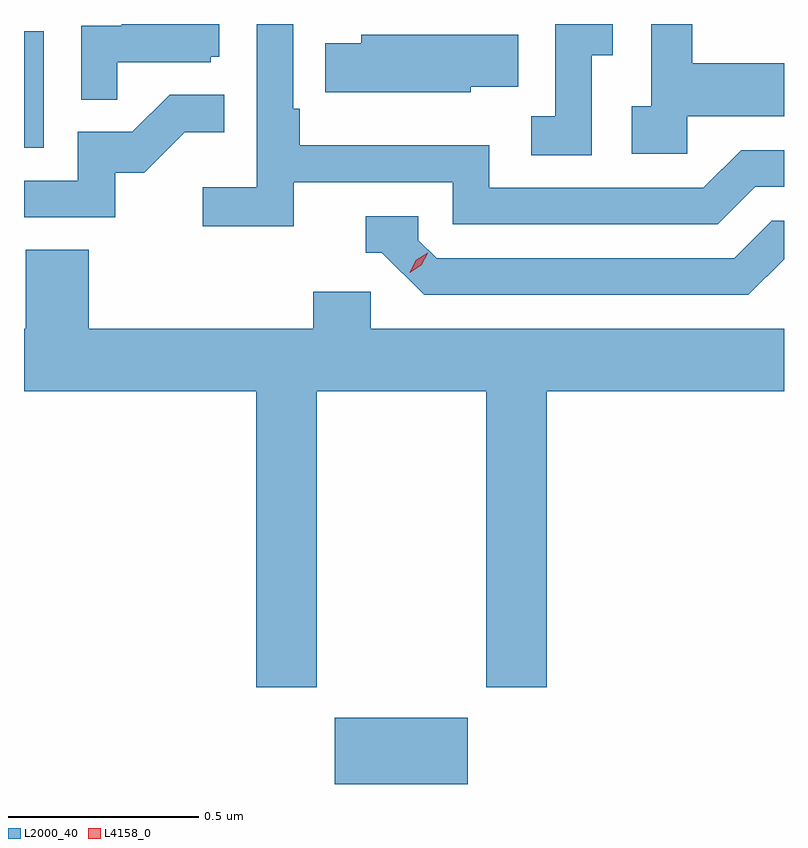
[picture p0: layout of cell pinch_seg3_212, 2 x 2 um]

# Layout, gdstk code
import gdstk
lib = gdstk.Library(unit=1e-6, precision=1e-09)
def R(c, l, rs):  # rectangles x0, y0, x1, y1
    for r in rs: c.add(gdstk.rectangle(r[:2], r[2:], *l))
def P(c, l, *ps):  # polygons
    for p in ps: c.add(gdstk.Polygon(p, *l))
L2000_40 = (2000, 40)
L4158_0 = (4158, 0)

pinch_seg3_212 = lib.new_cell('pinch_seg3_212')
R(pinch_seg3_212, L2000_40, [(965.45,731.85,965.8,732.025), (964.632,733.524,964.684,733.831)])
P(pinch_seg3_212, L2000_40, [(965.342,733.434),(965.76,733.434),(965.76,733.323),(966.457,733.323),(966.556,733.422),(966.632,733.422),(966.632,733.518),(966.519,733.518),(966.42,733.419),(965.856,733.419),(965.856,733.531),(965.357,733.531),(965.357,733.627),(965.34,733.627),(965.34,733.85),(965.244,733.85),(965.244,733.42),(965.103,733.42),(965.103,733.318),(965.342,733.318)],
  [(966.378,733.607),(966.632,733.607),(966.632,733.747),(966.391,733.747),(966.391,733.85),(966.282,733.85),(966.282,733.634),(966.231,733.634),(966.231,733.509),(966.378,733.509)],
  [(964.877,733.749),(965.124,733.749),(965.124,733.764),(965.146,733.764),(965.146,733.85),(964.889,733.85),(964.889,733.845),(964.782,733.845),(964.782,733.651),(964.877,733.651)],
  [(966.126,733.768),(966.181,733.768),(966.181,733.85),(966.03,733.85),(966.03,733.607),(965.967,733.607),(965.967,733.504),(966.126,733.504)],
  [(965.808,733.685),(965.933,733.685),(965.933,733.822),(965.519,733.822),(965.519,733.8),(965.425,733.8),(965.425,733.671),(965.536,733.671),(965.536,733.67),(965.808,733.67)],
  [(964.872,733.458),(964.948,733.458),(965.055,733.565),(965.159,733.565),(965.159,733.664),(965.015,733.664),(964.917,733.566),(964.773,733.566),(964.773,733.437),(964.632,733.437),(964.632,733.341),(964.872,733.341)],
  [(966.632,733.231),(966.632,733.332),(966.6,733.332),(966.501,733.233),(965.718,733.233),(965.67,733.281),(965.67,733.344),(965.531,733.344),(965.531,733.248),(965.574,733.248),(965.685,733.137),(966.538,733.137)],
  [(965.403,732.884),(965.848,732.884),(965.848,732.105),(966.008,732.105),(966.008,732.884),(966.632,732.884),(966.632,733.048),(965.544,733.048),(965.544,733.146),(965.393,733.146),(965.393,733.048),(964.802,733.048),(964.802,733.256),(964.637,733.256),(964.637,733.048),(964.632,733.048),(964.632,732.884),(965.243,732.884),(965.243,732.105),(965.403,732.105)])
P(pinch_seg3_212, L4158_0, [(965.647,733.195),(965.647,733.195),(965.663,733.228),(965.694,733.248),(965.694,733.248),(965.694,733.247),(965.678,733.215),(965.647,733.195)])

lib.write_gds('pinch_seg3_212.gds')
